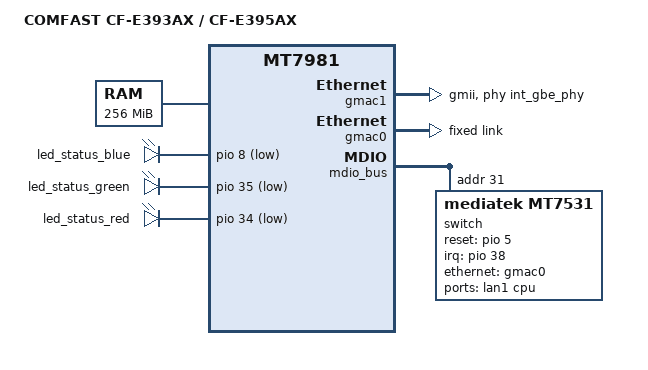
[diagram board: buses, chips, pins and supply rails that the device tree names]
// SPDX-License-Identifier: GPL-2.0-or-later OR MIT

/dts-v1/;
#include "mt7981b-comfast-common.dtsi"

/ {
	model = "COMFAST CF-E393AX / CF-E395AX";
	compatible = "comfast,cf-e393ax", "mediatek,mt7981";

	aliases {
		led-boot = &led_status_red;
		led-failsafe = &led_status_red;
		led-running = &led_status_blue;
		led-upgrade = &led_status_green;
	};

	memory@40000000 {
		reg = <0 0x40000000 0 0x10000000>; // 256mb
		device_type = "memory";
	};
};

&led_status_blue {
	gpios = <&pio 8 GPIO_ACTIVE_LOW>;
};

&led_status_green {
	gpios = <&pio 35 GPIO_ACTIVE_LOW>;
};

&led_status_red {
	gpios = <&pio 34 GPIO_ACTIVE_LOW>;
};

&eth {
	gmac1: mac@1 {
		compatible = "mediatek,eth-mac";
		reg = <1>;
		phy-mode = "gmii";
		phy-handle = <&int_gbe_phy>;
		nvmem-cells = <&macaddr_factory_e000 1>;
		nvmem-cell-names = "mac-address";
	};
};

&gmac0 {
	label = "lan";

	fixed-link {
		speed = <2500>;
		full-duplex;
		pause;
	};
};

&mdio_bus {
	switch: switch@1f {
		compatible = "mediatek,mt7531";
		reg = <31>;
		interrupt-controller;
		#interrupt-cells = <1>;
		interrupt-parent = <&pio>;
		interrupts = <38 IRQ_TYPE_LEVEL_HIGH>;
		reset-gpios = <&pio 5 GPIO_ACTIVE_HIGH>;

		ports {
			#address-cells = <1>;
			#size-cells = <0>;
	
			port@0 {
				reg = <0>;
				label = "lan1";
			};
	
			port@6 {
				reg = <6>;
				label = "cpu";
				ethernet = <&gmac0>;
				phy-mode = "2500base-x";
	
				fixed-link {
					speed = <2500>;
					full-duplex;
					pause;
				};
			};
		};
	};
};
